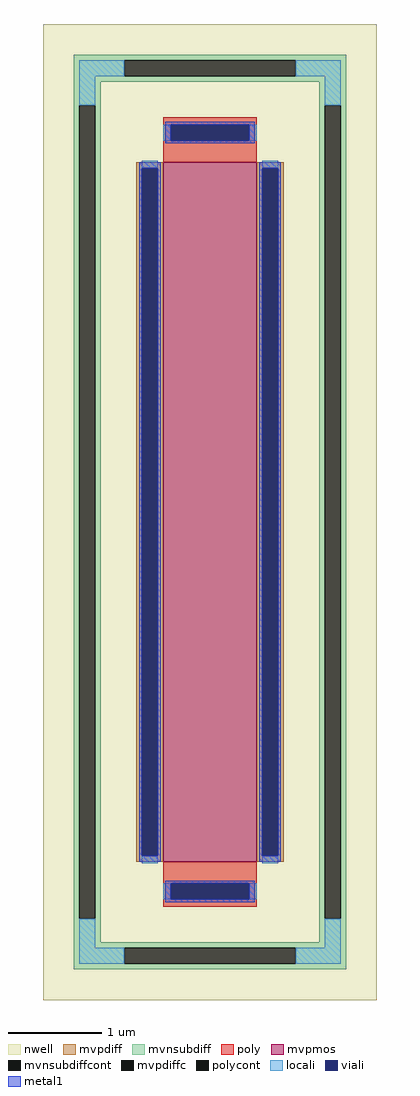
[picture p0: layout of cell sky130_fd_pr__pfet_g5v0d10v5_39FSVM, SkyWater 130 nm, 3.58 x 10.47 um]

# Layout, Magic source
magic
tech sky130A
magscale 1 2
<< nwell >>
rect -358 -1047 358 1047
<< mvpmos >>
rect -100 -750 100 750
<< mvpdiff >>
rect -158 738 -100 750
rect -158 -738 -146 738
rect -112 -738 -100 738
rect -158 -750 -100 -738
rect 100 738 158 750
rect 100 -738 112 738
rect 146 -738 158 738
rect 100 -750 158 -738
<< mvpdiffc >>
rect -146 -738 -112 738
rect 112 -738 146 738
<< mvnsubdiff >>
rect -292 969 292 981
rect -292 935 -184 969
rect 184 935 292 969
rect -292 923 292 935
rect -292 873 -234 923
rect -292 -873 -280 873
rect -246 -873 -234 873
rect 234 873 292 923
rect -292 -923 -234 -873
rect 234 -873 246 873
rect 280 -873 292 873
rect 234 -923 292 -873
rect -292 -935 292 -923
rect -292 -969 -184 -935
rect 184 -969 292 -935
rect -292 -981 292 -969
<< mvnsubdiffcont >>
rect -184 935 184 969
rect -280 -873 -246 873
rect 246 -873 280 873
rect -184 -969 184 -935
<< poly >>
rect -100 831 100 847
rect -100 797 -84 831
rect 84 797 100 831
rect -100 750 100 797
rect -100 -797 100 -750
rect -100 -831 -84 -797
rect 84 -831 100 -797
rect -100 -847 100 -831
<< polycont >>
rect -84 797 84 831
rect -84 -831 84 -797
<< locali >>
rect -280 935 -184 969
rect 184 935 280 969
rect -280 873 -246 935
rect 246 873 280 935
rect -100 797 -84 831
rect 84 797 100 831
rect -146 738 -112 754
rect -146 -754 -112 -738
rect 112 738 146 754
rect 112 -754 146 -738
rect -100 -831 -84 -797
rect 84 -831 100 -797
rect -280 -935 -246 -873
rect 246 -935 280 -873
rect -280 -969 -184 -935
rect 184 -969 280 -935
<< viali >>
rect -84 797 84 831
rect -146 -738 -112 738
rect 112 -738 146 738
rect -84 -831 84 -797
<< metal1 >>
rect -96 831 96 837
rect -96 797 -84 831
rect 84 797 96 831
rect -96 791 96 797
rect -152 738 -106 750
rect -152 -738 -146 738
rect -112 -738 -106 738
rect -152 -750 -106 -738
rect 106 738 152 750
rect 106 -738 112 738
rect 146 -738 152 738
rect 106 -750 152 -738
rect -96 -797 96 -791
rect -96 -831 -84 -797
rect 84 -831 96 -797
rect -96 -837 96 -831
<< properties >>
string FIXED_BBOX -263 -952 263 952
string gencell sky130_fd_pr__pfet_g5v0d10v5
string library sky130
string parameters w 7.5 l 1.0 m 1 nf 1 diffcov 100 polycov 100 guard 1 glc 1 grc 1 gtc 1 gbc 1 tbcov 100 rlcov 100 topc 1 botc 1 poverlap 0 doverlap 1 lmin 0.50 wmin 0.42 compatible {sky130_fd_pr__pfet_01v8  sky130_fd_pr__pfet_01v8_lvt sky130_fd_pr__pfet_01v8_hvt  sky130_fd_pr__pfet_g5v0d10v5} full_metal 1 viasrc 100 viadrn 100 viagate 100 viagb 0 viagr 0 viagl 0 viagt 0
<< end >>
